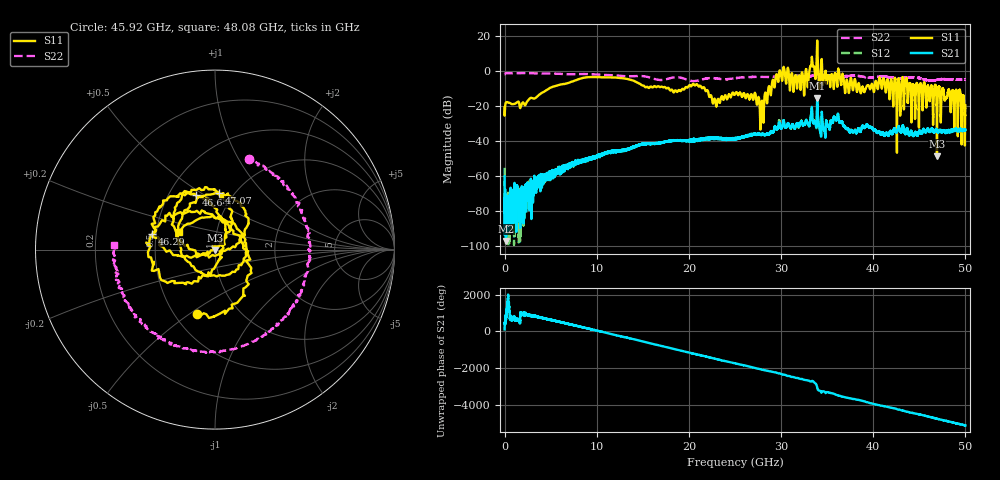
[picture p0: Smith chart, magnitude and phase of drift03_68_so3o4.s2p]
!Created with skrf (http://scikit-rf.org).
# Hz S RI R 50.0
!freq ReS11 ImS11 ReS21 ImS21 ReS12 ImS12 ReS22 ImS22
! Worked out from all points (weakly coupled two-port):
!   10001 points, 300 kHz to 50 GHz, reference 50 ohm
!   highest |S21| = -15.50 dB at 33.92 GHz (marker M1); lowest = -97.1 dB at 155.3 MHz (marker M2)
!   lowest |S11| = -48.9 dB at 46.92 GHz (marker M3), VSWR 1.01, Z = 49.9 - j0.356 ohm
!   |S11| at or under -10 dB: start of sweep to 4.85 GHz; 21.69 GHz to 28.62 GHz (6.929 GHz wide, 27.5 % of centre); 47.54 GHz to end of sweep (the widest 3 of 42)
!   |S22| runs from -5.9 to -1.3 dB; largest |S21 - S12| = 0.017
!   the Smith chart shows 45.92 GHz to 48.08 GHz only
!   S11 on the Smith chart (normalised r, x): 45.92 GHz: 0.64, -0.53; 46.29 GHz: 0.48, +0.10; 46.64 GHz: 0.68, +0.46; 47.07 GHz: 0.85, +0.60; 48.08 GHz: 0.66, +0.14
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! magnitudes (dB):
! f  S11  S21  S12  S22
! 300 kHz  -20.8  -60.2  -55.4  -2.1
! 155.3 MHz  -18.0  -97.1  -72.9  -1.5
! 8.335 GHz  -4.3  -51.5  -51.8  -1.9
! 16.67 GHz  -8.8  -41.4  -41.2  -5.2
! 21.01 GHz  -8.7  -39.1  -39.3  -5.5
! 22.81 GHz  -16.1  -38.3  -38.4  -4.3
! 25 GHz  -13.4  -38.8  -38.8  -4.3
! 27.02 GHz  -15.7  -36.3  -36.2  -3.5
! 27.92 GHz  -17.1  -36.5  -36.5  -3.5
! 29.69 GHz  -6.4  -32.1  -31.5  -3.1
! 32.32 GHz  -1.5  -30.5  -30.6  -3.2
! 33.34 GHz  7.8  -20.6  -21.1  -2.9
! 33.92 GHz  17.3  -15.5  -15.7  -2.5
! 38.82 GHz  -9.2  -31.4  -31.7  -3.3
! 41.67 GHz  -9.0  -36.7  -36.5  -3.7
! 45.92 GHz  -8.5  -32.9  -33.4  -5.4
! 46.29 GHz  -8.9  -33.7  -33.7  -5.5
! 46.64 GHz  -9.8  -34.6  -35.1  -5.5
! 46.92 GHz  -48.9  -34.1  -34.0  -5.2
! 47.07 GHz  -10.0  -34.5  -34.4  -5.0
! 48.08 GHz  -13.1  -34.9  -34.3  -5.0
! 50 GHz  -19.8  -33.6  -34.2  -4.9
